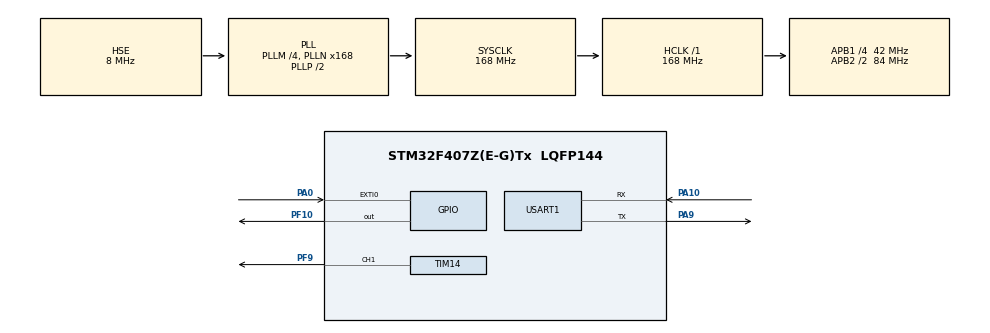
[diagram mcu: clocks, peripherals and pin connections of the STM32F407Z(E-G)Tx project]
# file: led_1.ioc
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Mcu.Family=STM32F4
Mcu.Name=STM32F407Z(E-G)Tx
Mcu.Package=LQFP144
NVIC.EXTI0_IRQn=true\:0\:0\:false\:false\:true\:true\:true
NVIC.PriorityGroup=NVIC_PRIORITYGROUP_4
NVIC.TIM7_IRQn=true\:0\:0\:false\:false\:true\:true\:true
NVIC.USART1_IRQn=true\:0\:0\:false\:false\:true\:true\:true
PA0-WKUP.GPIO_ModeDefaultEXTI=GPIO_MODE_IT_RISING
PA0-WKUP.Signal=GPXTI0
PA10.Mode=Asynchronous
PA10.Signal=USART1_RX
PA9.Mode=Asynchronous
PA9.Signal=USART1_TX
PF10.PinState=GPIO_PIN_SET
PF10.Signal=GPIO_Output
PF9.Signal=S_TIM14_CH1
PH0-OSC_IN.Mode=HSE-External-Oscillator
PH0-OSC_IN.Signal=RCC_OSC_IN
PH1-OSC_OUT.Mode=HSE-External-Oscillator
PH1-OSC_OUT.Signal=RCC_OSC_OUT
ProjectManager.HeapSize=0x200
ProjectManager.StackSize=0x400
ProjectManager.TargetToolchain=MDK-ARM V5.27
RCC.48MHZClocksFreq_Value=84000000
RCC.AHBFreq_Value=168000000
RCC.APB1CLKDivider=RCC_HCLK_DIV4
RCC.APB1Freq_Value=42000000
RCC.APB1TimFreq_Value=84000000
RCC.APB2CLKDivider=RCC_HCLK_DIV2
RCC.APB2Freq_Value=84000000
RCC.APB2TimFreq_Value=168000000
RCC.CortexFreq_Value=168000000
RCC.HCLKFreq_Value=168000000
RCC.HSE_VALUE=8000000
RCC.HSI_VALUE=16000000
RCC.LSE_VALUE=32768
RCC.PLLM=4
RCC.PLLN=168
RCC.PLLSourceVirtual=RCC_PLLSOURCE_HSE
RCC.SYSCLKFreq_VALUE=168000000
RCC.SYSCLKSource=RCC_SYSCLKSOURCE_PLLCLK
RCC.VCOOutputFreq_Value=336000000
SH.S_TIM14_CH1.0=TIM14_CH1,PWM Generation1 CH1
TIM14.Channel=TIM_CHANNEL_1
TIM14.OCPolarity_1=TIM_OCPOLARITY_LOW
TIM14.Period=2000-1
TIM14.Prescaler=840-1
TIM7.Period=2000-1
TIM7.Prescaler=8400-1
USART1.VirtualMode=VM_ASYNC
VP_TIM14_VS_ClockSourceINT.Mode=Enable_Timer
VP_TIM7_VS_ClockSourceINT.Mode=Enable_Timer
board=custom

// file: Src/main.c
/* USER CODE BEGIN Header */
/**
  ******************************************************************************
  * @file           : main.c
  * @brief          : Main program body
  ******************************************************************************
  * @attention
  *
  * <h2><center>&copy; Copyright (c) 2020 STMicroelectronics.
  * All rights reserved.</center></h2>
  *
  * This software component is licensed by ST under BSD 3-Clause license,
  * the "License"; You may not use this file except in compliance with the
  * License. You may obtain a copy of the License at:
  *                        opensource.org/licenses/BSD-3-Clause
  *
  ******************************************************************************
  */
/* USER CODE END Header */

#include "main.h"
#include "tim.h"
#include "usart.h"
#include "gpio.h"

/* USER CODE BEGIN Includes */
#include <string.h>
#include "stdio.h"
/* USER CODE END Includes */

/* USER CODE BEGIN PV */

uint8_t aRxBuffer[10];
int uart1_rx_cnt=0;
int UART1_Rx_flg=0;
uint8_t UART1_Rx_Buf[256];

/* USER CODE END PV */

void SystemClock_Config(void);

/* USER CODE BEGIN 0 */
void HAL_GPIO_EXTI_Callback(uint16_t GPIO_Pin)
{
   if(GPIO_Pin==GPIO_PIN_0){
		HAL_GPIO_TogglePin(GPIOF,GPIO_PIN_9);}
}
/* USER CODE END 0 */

int main(void)
{
  /* USER CODE BEGIN 1 */

//uint16_t pwmVal=0;   //PWM占空比
//uint8_t dir=1;

  /* USER CODE END 1 */

  /* MCU Configuration--------------------------------------------------------*/

  /* Reset of all peripherals, Initializes the Flash interface and the Systick. */
  HAL_Init();

  /* Configure the system clock */
  SystemClock_Config();

  /* Initialize all configured peripherals */
  MX_GPIO_Init();
  MX_USART1_UART_Init();
  MX_TIM7_Init();
  MX_TIM14_Init();
	//HAL_TIM_Base_Start_IT(&htim14);
	//HAL_TIM_PWM_Start(&htim14, TIM_CHANNEL_1);

  /* Infinite loop */
  /* USER CODE BEGIN WHILE */

	 HAL_UART_Receive_IT(&huart1,(uint8_t*)&aRxBuffer,1);
		while(1)
		{

    /* USER CODE END WHILE */

    /* USER CODE BEGIN 3 */
	if(UART1_Rx_flg==1)
    {
      HAL_UART_Transmit(&huart1,UART1_Rx_Buf,uart1_rx_cnt,0xffff);    //发送接收到的数据
      for(int i = 0;i<uart1_rx_cnt;i++)
        UART1_Rx_Buf[i] = 0;
      uart1_rx_cnt = 0;
      UART1_Rx_flg = 0;
    }
	}
  /* USER CODE END 3 */
}

void SystemClock_Config(void)
{
  RCC_OscInitTypeDef RCC_OscInitStruct = {0};
  RCC_ClkInitTypeDef RCC_ClkInitStruct = {0};

  /** Configure the main internal regulator output voltage
  */
  __HAL_RCC_PWR_CLK_ENABLE();
  __HAL_PWR_VOLTAGESCALING_CONFIG(PWR_REGULATOR_VOLTAGE_SCALE1);
  /** Initializes the CPU, AHB and APB busses clocks
  */
  RCC_OscInitStruct.OscillatorType = RCC_OSCILLATORTYPE_HSE;
  RCC_OscInitStruct.HSEState = RCC_HSE_ON;
  RCC_OscInitStruct.PLL.PLLState = RCC_PLL_ON;
  RCC_OscInitStruct.PLL.PLLSource = RCC_PLLSOURCE_HSE;
  RCC_OscInitStruct.PLL.PLLM = 4;
  RCC_OscInitStruct.PLL.PLLN = 168;
  RCC_OscInitStruct.PLL.PLLP = RCC_PLLP_DIV2;
  RCC_OscInitStruct.PLL.PLLQ = 4;
  if (HAL_RCC_OscConfig(&RCC_OscInitStruct) != HAL_OK)
  {
    Error_Handler();
  }
  /** Initializes the CPU, AHB and APB busses clocks
  */
  RCC_ClkInitStruct.ClockType = RCC_CLOCKTYPE_HCLK|RCC_CLOCKTYPE_SYSCLK
                              |RCC_CLOCKTYPE_PCLK1|RCC_CLOCKTYPE_PCLK2;
  RCC_ClkInitStruct.SYSCLKSource = RCC_SYSCLKSOURCE_PLLCLK;
  RCC_ClkInitStruct.AHBCLKDivider = RCC_SYSCLK_DIV1;
  RCC_ClkInitStruct.APB1CLKDivider = RCC_HCLK_DIV4;
  RCC_ClkInitStruct.APB2CLKDivider = RCC_HCLK_DIV2;

  if (HAL_RCC_ClockConfig(&RCC_ClkInitStruct, FLASH_LATENCY_5) != HAL_OK)
  {
    Error_Handler();
  }
}

/* USER CODE BEGIN 4 */

void HAL_UART_RxCpltCallback(UART_HandleTypeDef *huart)
{
  /* Prevent unused argument(s) compilation warning */
  UNUSED(huart);
	if(huart->Instance==USART1)
	{

		if(uart1_rx_cnt==0)
			HAL_TIM_Base_Start_IT(&htim7);

    UART1_Rx_Buf[uart1_rx_cnt] = aRxBuffer[0];
    uart1_rx_cnt++;
		memset(&aRxBuffer,0x00,sizeof(aRxBuffer));//清空
    HAL_UART_Receive_IT(&huart1,(uint8_t *)&aRxBuffer,1);
//		HAL_UART_Transmit(&huart1,(uint8_t *)&aRxBuffer,10,0xFFFF);
	//  memset(&aRxBuffer,0x00,sizeof(aRxBuffer));//清空
	  //HAL_UART_Receive_IT(&huart1, (uint8_t *)&aRxBuffer, 1);}
 }
}

/*void HAL_UART_RxCpltCallback(UART_HandleTypeDef *huart)
{
  if(huart->Instance==USART1)
  {
    __HAL_TIM_SET_COUNTER(&htim7,0);
    if(uart1_rx_cnt==0)//如果是第一个字符，则开启定时器
    {
    __HAL_TIM_CLEAR_FLAG(&htim7,TIM_FLAG_UPDATE);
      HAL_TIM_Base_Start_IT(&htim7);
    }
    UART1_Rx_Buf[uart1_rx_cnt] = aRxBuffer[0];
    uart1_rx_cnt++;
    HAL_UART_Receive_IT(&huart1,(uint8_t *)&aRxBuffer,1);
  }
}*/
/* USER CODE END 4 */

void Error_Handler(void)
{
}

/************************ (C) COPYRIGHT STMicroelectronics *****END OF FILE****/
